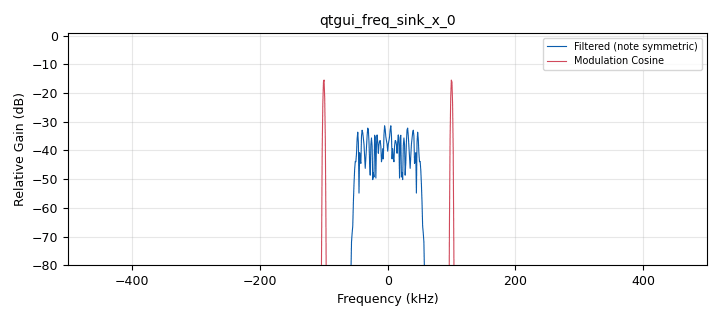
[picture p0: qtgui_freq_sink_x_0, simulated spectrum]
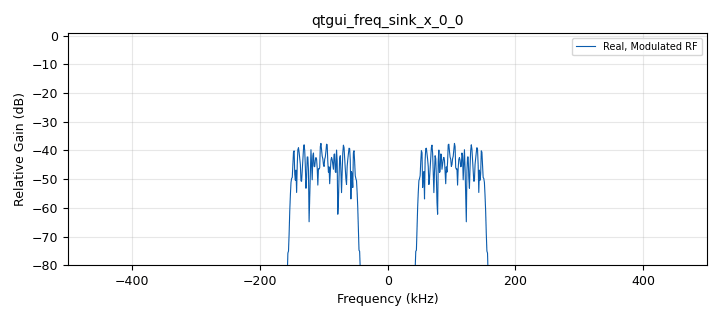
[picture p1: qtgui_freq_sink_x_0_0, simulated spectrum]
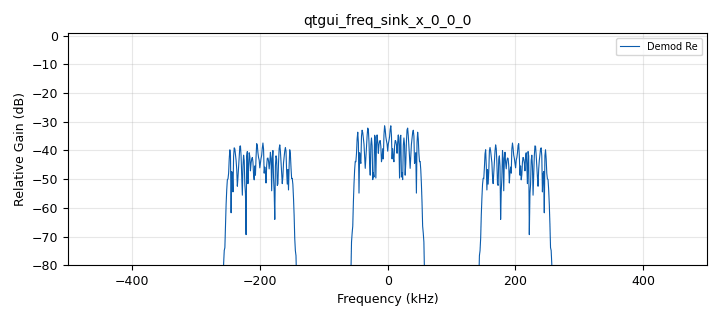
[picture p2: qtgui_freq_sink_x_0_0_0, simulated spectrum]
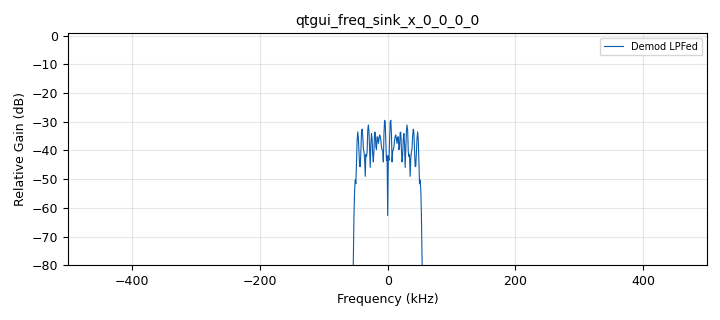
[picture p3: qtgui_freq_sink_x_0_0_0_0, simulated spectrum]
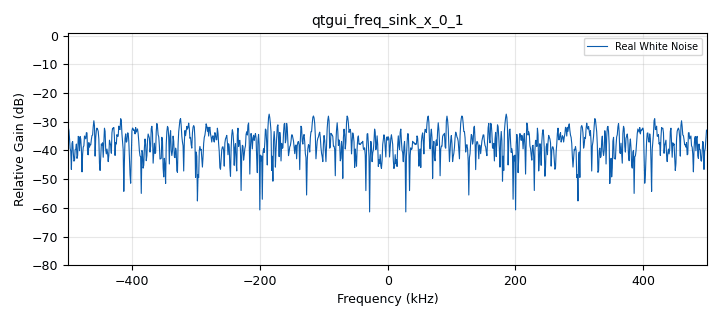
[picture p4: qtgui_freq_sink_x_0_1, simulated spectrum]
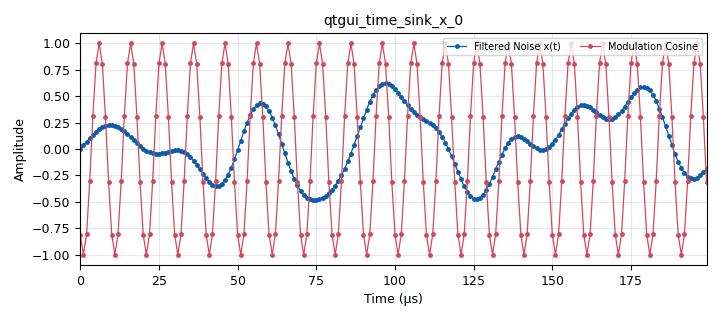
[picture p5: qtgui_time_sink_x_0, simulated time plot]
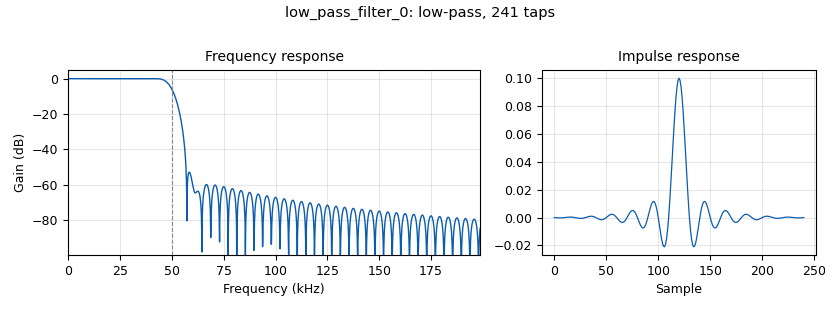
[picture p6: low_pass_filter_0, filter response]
options:
  parameters:
    author: jason
    generate_options: qt_gui
    id: basicSDR
    output_language: python
    title: Real Modulation
  states: {}

blocks:
- name: cutoff_freq_kHz
  id: variable_qtgui_range
  parameters:
    gui_hint: 0,0,1,2
    label: LPF Cutoff Frequency (kHz)
    orient: Qt.Horizontal
    start: '0'
    step: '1'
    stop: '500'
    value: '50'
  states: {}
- name: delay
  id: variable_qtgui_range
  parameters:
    gui_hint: 20,0,1,2
    label: Delay (samples)
    orient: Qt.Horizontal
    rangeType: int
    start: '0'
    step: '1'
    stop: '1000'
    value: '120'
  states: {}
- name: demodulation_freq_kHz
  id: variable_qtgui_range
  parameters:
    gui_hint: 18,0,1,2
    label: Deodulation Frequency (kHz)
    orient: Qt.Horizontal
    start: '0'
    step: '1'
    stop: '500'
    value: '100'
  states: {state: disabled}
- name: modulation_freq_kHz
  id: variable_qtgui_range
  parameters:
    gui_hint: 2,0,1,2
    label: Modulation Frequency (kHz)
    orient: Qt.Horizontal
    start: '0'
    step: '1'
    stop: '500'
    value: '100'
  states: {}
- name: phase
  id: variable_qtgui_range
  parameters:
    gui_hint: 19,0,1,2
    label: Phase Shift (samples)
    orient: Qt.Horizontal
    rangeType: int
    start: '0'
    step: '1'
    stop: '20'
    value: '0'
  states: {}
- name: samp_rate
  id: variable
  parameters:
    value: 1e6
  states: {}
- name: transition_width_kHz
  id: variable_qtgui_range
  parameters:
    gui_hint: 1,0,1,2
    label: LPF Transition Width (kHz)
    orient: Qt.Horizontal
    start: '0'
    step: '1'
    stop: '500'
    value: '10'
  states: {}
- name: analog_noise_source_x_0
  id: analog_noise_source_x
  parameters:
    amp: '1'
    comment: white Gaussian noise
    noise_type: analog.GR_GAUSSIAN
    seed: '0'
    type: float
  states: {}
- name: analog_sig_source_x_0_0
  id: analog_sig_source_x
  parameters:
    amp: '1'
    comment: cos(ωt)
    freq: modulation_freq_kHz*1000
    offset: '0'
    phase: '0'
    samp_rate: samp_rate
    type: float
    waveform: analog.GR_COS_WAVE
  states: {}
- name: analog_sig_source_x_0_0_0
  id: analog_sig_source_x
  parameters:
    amp: '2'
    comment: cos(ω't)
    freq: demodulation_freq_kHz*1000
    offset: '0'
    phase: '0'
    samp_rate: samp_rate
    type: float
    waveform: analog.GR_COS_WAVE
  states: {state: disabled}
- name: blocks_delay_0
  id: blocks_delay
  parameters:
    delay: delay
    type: float
  states: {}
- name: blocks_delay_1
  id: blocks_delay
  parameters:
    comment: |-
      simulate a phase shift 
      on the receiver
      try 50kHz modulation 
      with a narrower LPF cutoff
    delay: phase
    type: float
  states: {}
- name: blocks_multiply_const_vxx_0
  id: blocks_multiply_const_vxx
  parameters:
    comment: |-
      x2 to match
      input's amplitude
    const: '2'
    type: float
  states: {}
- name: blocks_multiply_xx_0_2
  id: blocks_multiply_xx
  parameters:
    comment: |-
      x(t) 2 cos^2(ωt) =
      x(t) [1 + cos(2ωt)]
    type: float
  states: {}
- name: blocks_multiply_xx_0_2_0
  id: blocks_multiply_xx
  parameters:
    comment: x(t) * cos(ωt)
    type: float
  states: {}
- name: blocks_throttle_0
  id: blocks_throttle
  parameters:
    samples_per_second: samp_rate
    type: float
  states: {}
- name: import_0
  id: import
  parameters:
    imports: import math
  states: {}
- name: low_pass_filter_0
  id: low_pass_filter
  parameters:
    comment: |-
      band-limited
      noise input
      x(t)
    cutoff_freq: cutoff_freq_kHz*1000
    decim: '1'
    gain: '1'
    samp_rate: samp_rate
    type: fir_filter_fff
    width: transition_width_kHz*1000
    win: firdes.WIN_HAMMING
  states: {}
- name: low_pass_filter_0_0_1
  id: low_pass_filter
  parameters:
    comment: |-
      Filter out cos(2ωt) term
      to get back just x(t)
    cutoff_freq: cutoff_freq_kHz*1000
    decim: '1'
    gain: '1'
    samp_rate: samp_rate
    type: fir_filter_fff
    width: transition_width_kHz*1000
    win: firdes.WIN_HAMMING
  states: {}
- name: qtgui_freq_sink_x_0
  id: qtgui_freq_sink_x
  parameters:
    bw: samp_rate
    color2: '"green"'
    comment: |-
      input signal
      x(t)
    fc: '0'
    fftsize: '1024'
    gui_hint: 6,1,3,1
    label1: Filtered (note symmetric)
    label2: Modulation Cosine
    name: ''
    nconnections: '2'
    type: float
    wintype: firdes.WIN_BLACKMAN_hARRIS
    ymax: '1'
    ymin: '-80'
  states: {}
- name: qtgui_freq_sink_x_0_0
  id: qtgui_freq_sink_x
  parameters:
    bw: samp_rate
    comment: |-
      modulated signal
      x(t) * cos(ωt)
    fc: '0'
    fftsize: '1024'
    gui_hint: 9,1,3,1
    label1: Real, Modulated RF
    type: float
    wintype: firdes.WIN_BLACKMAN_hARRIS
    ymax: '1'
    ymin: '-80'
  states: {}
- name: qtgui_freq_sink_x_0_0_0
  id: qtgui_freq_sink_x
  parameters:
    bw: samp_rate
    comment: |-
      demodulated signal
      before filtering
      x(t) 2 cos^2(ωt)
    fc: '0'
    fftsize: '1024'
    gui_hint: 12,1,3,1
    label1: Demod Re
    type: float
    wintype: firdes.WIN_BLACKMAN_hARRIS
    ymax: '1'
    ymin: '-80'
  states: {}
- name: qtgui_freq_sink_x_0_0_0_0
  id: qtgui_freq_sink_x
  parameters:
    bw: samp_rate
    color1: '"red"'
    comment: |-
      demodulated signal
      after filtering
      x(t) again
    fc: '0'
    fftsize: '1024'
    gui_hint: 15,1,3,1
    label1: Demod LPFed
    type: float
    wintype: firdes.WIN_BLACKMAN_hARRIS
    ymax: '1'
    ymin: '-80'
  states: {}
- name: qtgui_freq_sink_x_0_1
  id: qtgui_freq_sink_x
  parameters:
    bw: samp_rate
    fc: '0'
    fftsize: '1024'
    gui_hint: 3,1,3,1
    label1: Real White Noise
    name: ''
    type: float
    wintype: firdes.WIN_BLACKMAN_hARRIS
    ymax: '1'
    ymin: '-80'
  states: {}
- name: qtgui_time_sink_x_0
  id: qtgui_time_sink_x
  parameters:
    color2: green
    entags: 'False'
    gui_hint: 6,0,3,1
    label1: Filtered Noise x(t)
    label2: Modulation Cosine
    marker1: '0'
    marker2: '0'
    name: ''
    nconnections: '2'
    size: '200'
    srate: samp_rate
    tr_mode: qtgui.TRIG_MODE_AUTO
    type: float
    ymax: '1.1'
    ymin: '-1.1'
  states: {}
- name: qtgui_time_sink_x_0_0
  id: qtgui_time_sink_x
  parameters:
    gui_hint: 9,0,3,1
    label1: Real, Modulated RF
    size: '200'
    srate: samp_rate
    tr_mode: qtgui.TRIG_MODE_AUTO
    type: float
    ymax: '1.1'
    ymin: '-1.1'
  states: {}
- name: qtgui_time_sink_x_0_0_0
  id: qtgui_time_sink_x
  parameters:
    gui_hint: 12,0,3,1
    label1: Demod
    size: '200'
    srate: samp_rate
    tr_mode: qtgui.TRIG_MODE_AUTO
    type: float
    ymax: '1.1'
    ymin: '-1.1'
  states: {}
- name: qtgui_time_sink_x_0_0_0_0
  id: qtgui_time_sink_x
  parameters:
    gui_hint: 15,0,3,1
    label1: Input
    label2: ' Demod LPFed'
    nconnections: '2'
    size: '200'
    srate: samp_rate
    tr_mode: qtgui.TRIG_MODE_AUTO
    type: float
    ymax: '1.1'
    ymin: '-1.1'
  states: {}
- name: qtgui_time_sink_x_0_1
  id: qtgui_time_sink_x
  parameters:
    entags: 'False'
    gui_hint: 3,0,3,1
    label1: White Noise
    name: ''
    size: '200'
    srate: samp_rate
    tr_mode: qtgui.TRIG_MODE_AUTO
    type: float
    ymax: '2.5'
    ymin: '-2.5'
  states: {}

connections:
- [analog_noise_source_x_0, '0', blocks_throttle_0, '0']
- [analog_sig_source_x_0_0, '0', blocks_multiply_const_vxx_0, '0']
- [analog_sig_source_x_0_0, '0', blocks_multiply_xx_0_2_0, '1']
- [analog_sig_source_x_0_0, '0', qtgui_freq_sink_x_0, '1']
- [analog_sig_source_x_0_0, '0', qtgui_time_sink_x_0, '1']
- [analog_sig_source_x_0_0_0, '0', blocks_multiply_xx_0_2, '1']
- [blocks_delay_0, '0', qtgui_time_sink_x_0_0_0_0, '0']
- [blocks_delay_1, '0', blocks_multiply_xx_0_2, '1']
- [blocks_multiply_const_vxx_0, '0', blocks_delay_1, '0']
- [blocks_multiply_xx_0_2, '0', low_pass_filter_0_0_1, '0']
- [blocks_multiply_xx_0_2, '0', qtgui_freq_sink_x_0_0_0, '0']
- [blocks_multiply_xx_0_2, '0', qtgui_time_sink_x_0_0_0, '0']
- [blocks_multiply_xx_0_2_0, '0', blocks_multiply_xx_0_2, '0']
- [blocks_multiply_xx_0_2_0, '0', qtgui_freq_sink_x_0_0, '0']
- [blocks_multiply_xx_0_2_0, '0', qtgui_time_sink_x_0_0, '0']
- [blocks_throttle_0, '0', low_pass_filter_0, '0']
- [blocks_throttle_0, '0', qtgui_freq_sink_x_0_1, '0']
- [blocks_throttle_0, '0', qtgui_time_sink_x_0_1, '0']
- [low_pass_filter_0, '0', blocks_delay_0, '0']
- [low_pass_filter_0, '0', blocks_multiply_xx_0_2_0, '0']
- [low_pass_filter_0, '0', qtgui_freq_sink_x_0, '0']
- [low_pass_filter_0, '0', qtgui_time_sink_x_0, '0']
- [low_pass_filter_0_0_1, '0', qtgui_freq_sink_x_0_0_0_0, '0']
- [low_pass_filter_0_0_1, '0', qtgui_time_sink_x_0_0_0_0, '1']

metadata:
  file_format: 1
